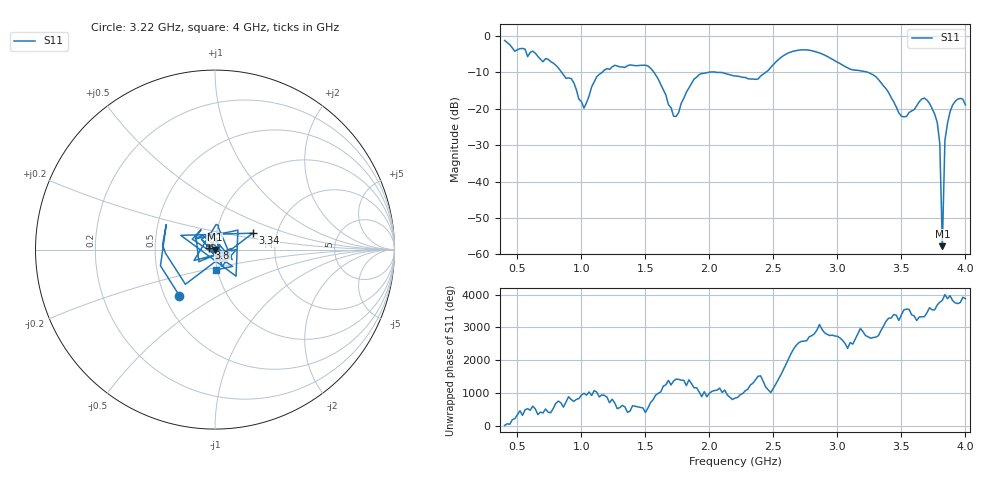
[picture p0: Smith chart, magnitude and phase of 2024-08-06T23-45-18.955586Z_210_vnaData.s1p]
!Created with skrf (http://scikit-rf.org).
# Hz S RI R 50.0
!freq ReS11 ImS11
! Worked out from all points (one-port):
!   181 points, 400 MHz to 4 GHz, reference 50 ohm
!   lowest |S11| = -57.8 dB at 3.82 GHz (marker M1), VSWR 1.00, Z = 49.9 - j0.0862 ohm
!   |S11| at or under -10 dB: 1.567 GHz to 1.988 GHz (420.6 MHz wide, 23.7 % of centre); 2.085 GHz to 2.438 GHz (353.8 MHz wide, 15.6 % of centre); 3.241 GHz to end of sweep (the widest 3 of 4)
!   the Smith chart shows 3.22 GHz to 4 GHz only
!   S11 on the Smith chart (normalised r, x): 3.22 GHz: 0.60, -0.34; 3.34 GHz: 1.50, +0.29; 3.8 GHz: 0.94, +0.01; 4 GHz: 0.98, -0.23
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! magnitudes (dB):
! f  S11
! 400 MHz  -1.2
! 740 MHz  -6.4
! 860 MHz  -10.7
! 940 MHz  -12.8
! 1.02 GHz  -19.8
! 1.12 GHz  -11.2
! 1.3 GHz  -8.5
! 1.52 GHz  -8.2
! 1.6 GHz  -11.8
! 1.72 GHz  -22.0
! 1.76 GHz  -21.0
! 1.92 GHz  -10.6
! 2.2 GHz  -11.0
! 2.38 GHz  -11.8
! 2.66 GHz  -4.1
! 3.1 GHz  -9.1
! 3.22 GHz  -9.8
! 3.34 GHz  -12.8
! 3.5 GHz  -22.0
! 3.56 GHz  -21.0
! 3.7 GHz  -17.6
! 3.78 GHz  -23.7
! 3.8 GHz  -29.6
! 3.82 GHz  -57.8
! 3.84 GHz  -28.7
! 3.86 GHz  -24.0
! 3.92 GHz  -18.0
! 4 GHz  -18.9
